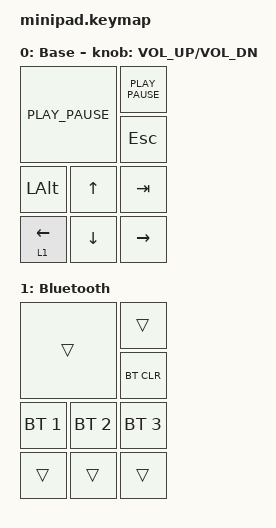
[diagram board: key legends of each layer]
#define ZMK_POINTING_DEFAULT_SCRL_VAL 300

#include <behaviors.dtsi>
#include <dt-bindings/zmk/keys.h>
#include <dt-bindings/zmk/bt.h>
#include <dt-bindings/zmk/pointing.h>

&soft_off {
    hold-time-ms = <3000>;
};

&msc {
    time-to-max-speed-ms = <40>;
    acceleration-exponent = <1>;
};

/ {
     behaviors {
         mouse_scroll: sensor_scroll {
        	 compatible = "zmk,behavior-sensor-rotate-var";
        	 #sensor-binding-cells = <2>;
             bindings = <&msc>, <&msc>;
             tap-ms = <20>;
		 };
     };

    keymap {
        compatible = "zmk,keymap";

        default_layer {
            display-name = "Base";
            bindings = <
                &kp K_PLAY_PAUSE &kp ESC &kp LALT &kp UP_ARROW &kp TAB &lt 1 LEFT_ARROW &kp DOWN_ARROW &kp RIGHT_ARROW &kp K_PLAY_PAUSE
            >;
            sensor-bindings = <&inc_dec_kp C_VOL_UP C_VOL_DN>;
        };

        bt_layer {
			display-name = "Bluetooth";
			bindings = <
                &trans &bt BT_CLR &bt BT_SEL 1 &bt BT_SEL 2 &bt BT_SEL 3 &trans &trans &trans &trans
            >;
        };

        extra1 {
            status = "reserved";
        };

        extra2 {
            status = "reserved";
            sensor-bindings = <&mouse_scroll MOVE_UP MOVE_DOWN>;
        };
    };
};
